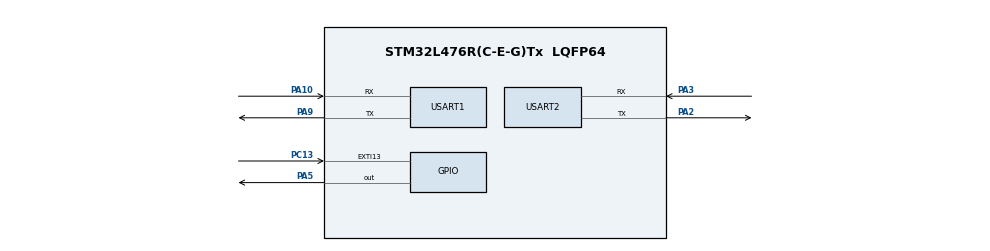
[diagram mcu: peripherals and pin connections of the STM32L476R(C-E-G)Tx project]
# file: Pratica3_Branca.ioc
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Dma.Request0=USART1_RX
Dma.Request1=USART2_TX
Dma.USART1_RX.0.Direction=DMA_PERIPH_TO_MEMORY
Dma.USART1_RX.0.Instance=DMA1_Channel5
Dma.USART1_RX.0.MemDataAlignment=DMA_MDATAALIGN_BYTE
Dma.USART1_RX.0.MemInc=DMA_MINC_ENABLE
Dma.USART1_RX.0.Mode=DMA_NORMAL
Dma.USART1_RX.0.PeriphDataAlignment=DMA_PDATAALIGN_BYTE
Dma.USART1_RX.0.PeriphInc=DMA_PINC_DISABLE
Dma.USART1_RX.0.Priority=DMA_PRIORITY_LOW
Dma.USART2_TX.1.Direction=DMA_MEMORY_TO_PERIPH
Dma.USART2_TX.1.Instance=DMA1_Channel7
Dma.USART2_TX.1.MemDataAlignment=DMA_MDATAALIGN_BYTE
Dma.USART2_TX.1.MemInc=DMA_MINC_ENABLE
Dma.USART2_TX.1.Mode=DMA_NORMAL
Dma.USART2_TX.1.PeriphDataAlignment=DMA_PDATAALIGN_BYTE
Dma.USART2_TX.1.PeriphInc=DMA_PINC_DISABLE
Dma.USART2_TX.1.Priority=DMA_PRIORITY_LOW
Mcu.Family=STM32L4
Mcu.Name=STM32L476R(C-E-G)Tx
Mcu.Package=LQFP64
NVIC.DMA1_Channel5_IRQn=true\:0\:0\:false\:false\:true\:false\:true\:true
NVIC.DMA1_Channel7_IRQn=true\:0\:0\:false\:false\:true\:false\:true\:true
NVIC.EXTI15_10_IRQn=true\:0\:0\:false\:false\:true\:true\:true\:true
NVIC.PriorityGroup=NVIC_PRIORITYGROUP_4
NVIC.USART1_IRQn=true\:0\:0\:false\:false\:true\:true\:true\:true
NVIC.USART2_IRQn=true\:0\:0\:false\:false\:true\:true\:true\:true
PA10.Mode=Asynchronous
PA10.Signal=USART1_RX
PA2.Mode=Asynchronous
PA2.Signal=USART2_TX
PA3.Mode=Asynchronous
PA3.Signal=USART2_RX
PA5.Signal=GPIO_Output
PA9.Mode=Asynchronous
PA9.Signal=USART1_TX
PC13.Signal=GPXTI13
ProjectManager.HeapSize=0x200
ProjectManager.StackSize=0x400
ProjectManager.TargetToolchain=STM32CubeIDE
RCC.HSE_VALUE=8000000
RCC.HSI_VALUE=16000000
RCC.LSE_VALUE=32768
RCC.MSI_VALUE=4000000
RCC.VCOOutputFreq_Value=32000000
USART1.VirtualMode-Asynchronous=VM_ASYNC
USART2.VirtualMode-Asynchronous=VM_ASYNC
board=custom

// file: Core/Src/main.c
/* USER CODE BEGIN Header */
/**
  ******************************************************************************
  * @file           : main.c
  * @brief          : Main program body
  ******************************************************************************
  * @attention
  *
  * Copyright (c) 2026 STMicroelectronics.
  * All rights reserved.
  *
  * This software is licensed under terms that can be found in the LICENSE file
  * in the root directory of this software component.
  * If no LICENSE file comes with this software, it is provided AS-IS.
  *
  ******************************************************************************
  */
/* USER CODE END Header */
#include "main.h"

/* USER CODE BEGIN Includes */
#include <stdio.h>
#include <string.h>
/* USER CODE END Includes */

UART_HandleTypeDef huart1;
UART_HandleTypeDef huart2;
DMA_HandleTypeDef hdma_usart1_rx;
DMA_HandleTypeDef hdma_usart2_tx;

void SystemClock_Config(void);
static void MX_GPIO_Init(void);
static void MX_DMA_Init(void);
static void MX_USART1_UART_Init(void);
static void MX_USART2_UART_Init(void);

/* USER CODE BEGIN 0 */
uint8_t cmd = 0x5A;               // O comando mágico que acorda o servidor
uint8_t contador_recebido = 0;    // Guarda o número que vem da placa verde
uint8_t tabela_recebida[50];      // Buffer para receber os nomes (50 posições)
char msg_pc[50];                  // Buffer para montar a frase "Número de eventos..."
uint8_t estado = 0;               // Controla a máquina de estados
/* USER CODE END 0 */
int main(void)
{

  /* MCU Configuration--------------------------------------------------------*/

  /* Reset of all peripherals, Initializes the Flash interface and the Systick. */
  HAL_Init();

  /* Configure the system clock */
  SystemClock_Config();

  /* Initialize all configured peripherals */
  MX_GPIO_Init();
  MX_DMA_Init();
  MX_USART1_UART_Init();
  MX_USART2_UART_Init();

  /* Infinite loop */
  while (1)
  {

	  /* USER CODE BEGIN 3 */
	  sprintf(msg_pc, "nplaca conectada");
	      // ESTADO 1: O botão foi apertado! Hora de pedir os dados.
	      if (estado == 1) {
	          // 1. Armamos a "rede" para capturar 1 byte do contador por Interrupção
	          HAL_UART_Receive_IT(&huart1, &contador_recebido, 1);

	          // 3. Enviamos o comando 0x5A para a placa verde
	          HAL_UART_Transmit_IT(&huart1, &cmd, 1);

	          // Damos uma fração de segundo para a placa verde processar e devolver
	          HAL_Delay(100);

	          estado = 2; // Avança para a fase de piscar o LED
	      }

	      // ESTADO 2: Piscar o LED (Bloqueia novos comandos)
	      if (estado == 2) {
	          if (contador_recebido > 0) {
	              // Pisca 1x por segundo (500ms ligado, 500ms desligado)
	              for (int i = 0; i < contador_recebido; i++) {
	                  HAL_GPIO_WritePin(GPIOA, GPIO_PIN_5, GPIO_PIN_SET);
	                  HAL_Delay(500);
	                  HAL_GPIO_WritePin(GPIOA, GPIO_PIN_5, GPIO_PIN_RESET);
	                  HAL_Delay(500);
	              }
	          }
	          estado = 3; // Terminou de piscar, avança para avisar o PC
	      }

	      // ESTADO 3: Envia a frase para o Computador por Interrupção
	      if (estado == 3) {
	          sprintf(msg_pc, "\r\nNumero de eventos = %d\r\n", contador_recebido);
	          HAL_UART_Transmit_IT(&huart2, (uint8_t*)msg_pc, strlen(msg_pc));

	          // Espera a frase terminar de ser enviada
	          while (huart2.gState != HAL_UART_STATE_READY) {}

	          estado = 4; // Avança para enviar a tabela
	      }

	      // ESTADO 4: Envia a Tabela da Equipe para o Computador por DMA
	      if (estado == 4) {
	          HAL_UART_Transmit_DMA(&huart2, tabela_recebida, 50);

	          // Espera a tabela terminar de ser enviada
	          while (huart2.gState != HAL_UART_STATE_READY) {}

	          estado = 0; // Missão cumprida! Volta a zero e fica à espera de novo aperto de botão.
	      }
	    } //
	    /* USER CODE END 3 */
}

void SystemClock_Config(void)
{
  RCC_OscInitTypeDef RCC_OscInitStruct = {0};
  RCC_ClkInitTypeDef RCC_ClkInitStruct = {0};

  /** Configure the main internal regulator output voltage
  */
  if (HAL_PWREx_ControlVoltageScaling(PWR_REGULATOR_VOLTAGE_SCALE1) != HAL_OK)
  {
    Error_Handler();
  }

  /** Initializes the RCC Oscillators according to the specified parameters
  * in the RCC_OscInitTypeDef structure.
  */
  RCC_OscInitStruct.OscillatorType = RCC_OSCILLATORTYPE_MSI;
  RCC_OscInitStruct.MSIState = RCC_MSI_ON;
  RCC_OscInitStruct.MSICalibrationValue = 0;
  RCC_OscInitStruct.MSIClockRange = RCC_MSIRANGE_6;
  RCC_OscInitStruct.PLL.PLLState = RCC_PLL_NONE;
  if (HAL_RCC_OscConfig(&RCC_OscInitStruct) != HAL_OK)
  {
    Error_Handler();
  }

  /** Initializes the CPU, AHB and APB buses clocks
  */
  RCC_ClkInitStruct.ClockType = RCC_CLOCKTYPE_HCLK|RCC_CLOCKTYPE_SYSCLK
                              |RCC_CLOCKTYPE_PCLK1|RCC_CLOCKTYPE_PCLK2;
  RCC_ClkInitStruct.SYSCLKSource = RCC_SYSCLKSOURCE_MSI;
  RCC_ClkInitStruct.AHBCLKDivider = RCC_SYSCLK_DIV1;
  RCC_ClkInitStruct.APB1CLKDivider = RCC_HCLK_DIV1;
  RCC_ClkInitStruct.APB2CLKDivider = RCC_HCLK_DIV1;

  if (HAL_RCC_ClockConfig(&RCC_ClkInitStruct, FLASH_LATENCY_0) != HAL_OK)
  {
    Error_Handler();
  }
}

static void MX_USART1_UART_Init(void)
{

  huart1.Instance = USART1;
  huart1.Init.BaudRate = 115200;
  huart1.Init.WordLength = UART_WORDLENGTH_8B;
  huart1.Init.StopBits = UART_STOPBITS_1;
  huart1.Init.Parity = UART_PARITY_NONE;
  huart1.Init.Mode = UART_MODE_TX_RX;
  huart1.Init.HwFlowCtl = UART_HWCONTROL_NONE;
  huart1.Init.OverSampling = UART_OVERSAMPLING_16;
  huart1.Init.OneBitSampling = UART_ONE_BIT_SAMPLE_DISABLE;
  huart1.AdvancedInit.AdvFeatureInit = UART_ADVFEATURE_NO_INIT;
  if (HAL_UART_Init(&huart1) != HAL_OK)
  {
    Error_Handler();
  }

}

static void MX_USART2_UART_Init(void)
{

  huart2.Instance = USART2;
  huart2.Init.BaudRate = 115200;
  huart2.Init.WordLength = UART_WORDLENGTH_8B;
  huart2.Init.StopBits = UART_STOPBITS_1;
  huart2.Init.Parity = UART_PARITY_NONE;
  huart2.Init.Mode = UART_MODE_TX_RX;
  huart2.Init.HwFlowCtl = UART_HWCONTROL_NONE;
  huart2.Init.OverSampling = UART_OVERSAMPLING_16;
  huart2.Init.OneBitSampling = UART_ONE_BIT_SAMPLE_DISABLE;
  huart2.AdvancedInit.AdvFeatureInit = UART_ADVFEATURE_NO_INIT;
  if (HAL_UART_Init(&huart2) != HAL_OK)
  {
    Error_Handler();
  }

}

static void MX_DMA_Init(void)
{

  /* DMA controller clock enable */
  __HAL_RCC_DMA1_CLK_ENABLE();

  /* DMA interrupt init */
  /* DMA1_Channel5_IRQn interrupt configuration */
  HAL_NVIC_SetPriority(DMA1_Channel5_IRQn, 0, 0);
  HAL_NVIC_EnableIRQ(DMA1_Channel5_IRQn);
  /* DMA1_Channel7_IRQn interrupt configuration */
  HAL_NVIC_SetPriority(DMA1_Channel7_IRQn, 0, 0);
  HAL_NVIC_EnableIRQ(DMA1_Channel7_IRQn);

}

static void MX_GPIO_Init(void)
{
  GPIO_InitTypeDef GPIO_InitStruct = {0};

  /* GPIO Ports Clock Enable */
  __HAL_RCC_GPIOC_CLK_ENABLE();
  __HAL_RCC_GPIOA_CLK_ENABLE();

  /*Configure GPIO pin Output Level */
  HAL_GPIO_WritePin(GPIOA, GPIO_PIN_5, GPIO_PIN_RESET);

  /*Configure GPIO pin : PC13 */
  GPIO_InitStruct.Pin = GPIO_PIN_13;
  GPIO_InitStruct.Mode = GPIO_MODE_IT_RISING;
  GPIO_InitStruct.Pull = GPIO_NOPULL;
  HAL_GPIO_Init(GPIOC, &GPIO_InitStruct);

  /*Configure GPIO pin : PA5 */
  GPIO_InitStruct.Pin = GPIO_PIN_5;
  GPIO_InitStruct.Mode = GPIO_MODE_OUTPUT_PP;
  GPIO_InitStruct.Pull = GPIO_NOPULL;
  GPIO_InitStruct.Speed = GPIO_SPEED_FREQ_LOW;
  HAL_GPIO_Init(GPIOA, &GPIO_InitStruct);

  /* EXTI interrupt init*/
  HAL_NVIC_SetPriority(EXTI15_10_IRQn, 0, 0);
  HAL_NVIC_EnableIRQ(EXTI15_10_IRQn);

}

/* USER CODE BEGIN 4 */
void HAL_GPIO_EXTI_Callback(uint16_t GPIO_Pin) {
    // Só deixa mudar o estado se o sistema estiver livre (estado 0).
    // Isso cria o "bloqueio" pedido.
    if (GPIO_Pin == GPIO_PIN_13 && estado == 0) {
        estado = 1;
    }
}

// COLOQUE O PASSO B AQUI, LOGO ABAIXO DA FUNÇÃO DO BOTÃO:
void HAL_UART_RxCpltCallback(UART_HandleTypeDef *huart) {
    if (huart->Instance == USART1) {
        // Recebeu o contador! Agora arma o DMA rápido para pegar a tabela que vem atrás.
        HAL_UART_Receive_DMA(&huart1, tabela_recebida, 50);
    }
}
/* USER CODE END 4 */

void Error_Handler(void)
{
  __disable_irq();
  while (1)
  {
  }
}
